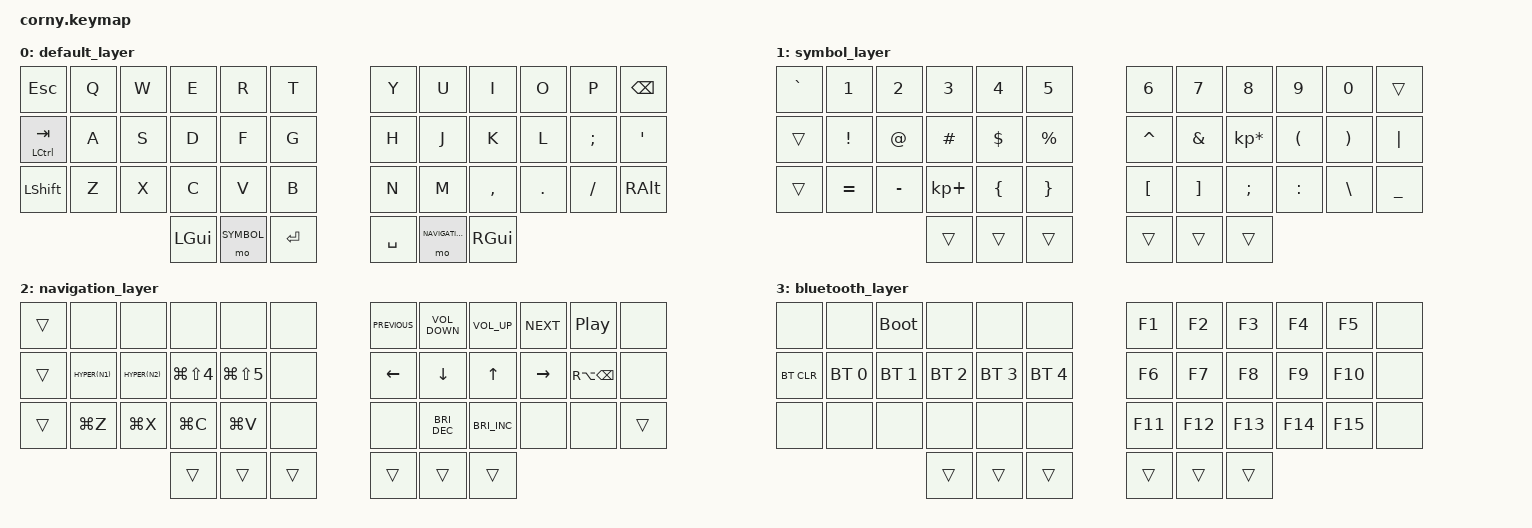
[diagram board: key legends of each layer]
#include <behaviors.dtsi>
#include <dt-bindings/zmk/keys.h>
#include <dt-bindings/zmk/bt.h>
#include <dt-bindings/zmk/ext_power.h>

#define DEFAULT     0
#define SYMBOL      1
#define NAVIGATION  2
#define BLUETOOTH   3

#define HYPER(key) LS(LC(LA(LG(key))))

&mt {
    tapping-term-ms = <200>;
    quick-tap-ms = <150>;
};

/ {
    behaviors {
        shifty: shift_caps_word {
            compatible = "zmk,behavior-tap-dance";
            #binding-cells = <0>;
            tapping-term-ms = <150>;
            bindings = <&kp LSHIFT>, <&caps_word>;
        };
    };
    conditional_layers {
        compatible = "zmk,conditional-layers";
        tri_layer {
            if-layers = <1 2>;
            then-layer = <3>;
        };
    };
    keymap {
        compatible = "zmk,keymap";
        default_layer {
            bindings = <
&kp ESC       &kp Q  &kp W    &kp E      &kp R     &kp T                                   &kp Y      &kp U     &kp I     &kp O    &kp P    &kp BSPC
&mt LCTRL TAB &kp A  &kp S    &kp D      &kp F     &kp G                                   &kp H      &kp J     &kp K     &kp L    &kp SEMI &kp SQT
&kp LSHIFT    &kp Z  &kp X    &kp C      &kp V     &kp B                                   &kp N      &kp M     &kp COMMA &kp DOT  &kp FSLH &kp RALT
                                         &kp LGUI   &mo SYMBOL &kp RET           &kp SPACE  &mo NAVIGATION  &kp RGUI
            >;
        };

        symbol_layer {
            bindings = <
&kp GRAVE &kp N1    &kp N2    &kp N3      &kp N4    &kp N5                                  &kp N6    &kp N7   &kp N8          &kp N9    &kp N0    &trans
&trans    &kp EXCL  &kp AT    &kp HASH    &kp DLLR  &kp PRCNT                               &kp CARET &kp AMPS &kp KP_MULTIPLY &kp LPAR  &kp RPAR  &kp PIPE
&trans    &kp EQUAL &kp MINUS &kp KP_PLUS &kp LBRC  &kp RBRC                                &kp LBKT  &kp RBKT &kp SEMI        &kp COLON &kp BSLH  &kp UNDERSCORE
                                          &trans    &trans    &trans               &trans   &trans    &trans
            >;
        };

        navigation_layer {
            bindings = <
&trans     &none         &none         &none          &none          &none                      &kp C_PREVIOUS &kp C_VOLUME_DOWN    &kp C_VOLUME_UP      &kp C_NEXT  &kp C_PLAY_PAUSE &none
&trans     &kp HYPER(N1) &kp HYPER(N2) &kp LG(LS(N4)) &kp LG(LS(N5)) &none                      &kp LEFT       &kp DOWN             &kp UP               &kp RIGHT   &kp RA(BSPC)     &none
&trans     &kp LG(Z)     &kp LG(X)     &kp LG(C)      &kp LG(V)      &none                      &none          &kp C_BRIGHTNESS_DEC &kp C_BRIGHTNESS_INC &none       &none            &trans
                                                     &trans    &trans    &trans                   &trans      &trans      &trans
            >;
        };

        bluetooth_layer {
            bindings = <
&none      &none        &bootloader  &none        &none        &none                         &kp F1  &kp F2  &kp F3  &kp F4  &kp F5  &none
&bt BT_CLR &bt BT_SEL 0 &bt BT_SEL 1 &bt BT_SEL 2 &bt BT_SEL 3 &bt BT_SEL 4                  &kp F6  &kp F7  &kp F8  &kp F9  &kp F10 &none
&none      &none        &none        &none        &none        &none                         &kp F11 &kp F12 &kp F13 &kp F14 &kp F15 &none
                                                 &trans    &trans     &trans             &trans  &trans  &trans
            >;
        };
    };
};
